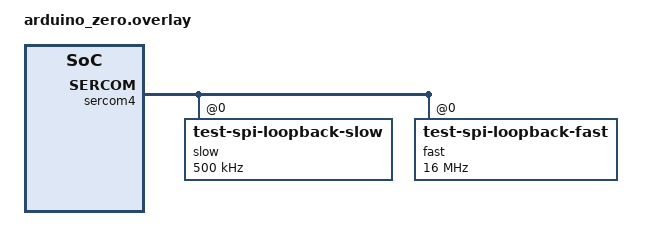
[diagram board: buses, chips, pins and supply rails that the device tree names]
/*
 * Copyright (c) 2022 Kumar Gala <galak@kernel.org>
 *
 * SPDX-License-Identifier: Apache-2.0
 */

tst_dma0: &dmac {};

&sercom4 {
	cs-gpios = <&porta 3 GPIO_ACTIVE_LOW>;
	slow@0 {
		compatible = "test-spi-loopback-slow";
		reg = <0>;
		spi-max-frequency = <500000>;
	};
	fast@0 {
		compatible = "test-spi-loopback-fast";
		reg = <0>;
		spi-max-frequency = <16000000>;
	};
};
